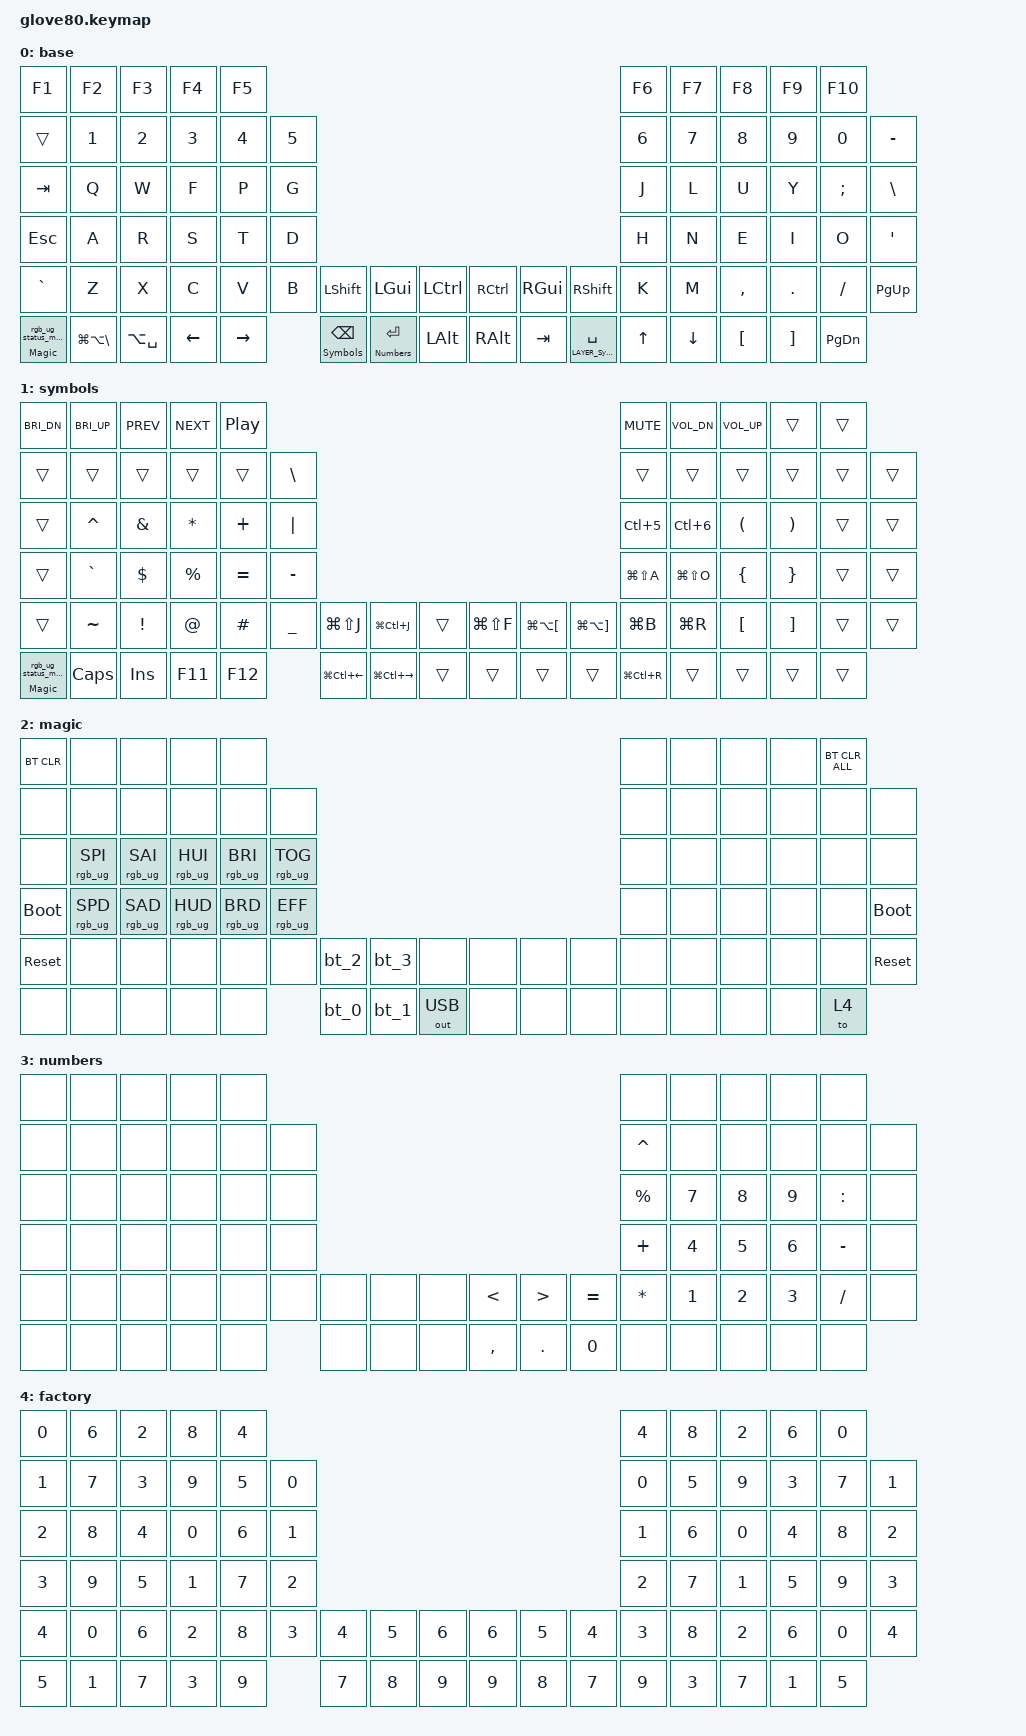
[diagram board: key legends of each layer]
/*
 * Copyright (c) 2020 The ZMK Contributors
 *
 * SPDX-License-Identifier: MIT
 */

#include <behaviors.dtsi>
#include <dt-bindings/zmk/keys.h>
#include <dt-bindings/zmk/bt.h>
#include <dt-bindings/zmk/ext_power.h>
#include <dt-bindings/zmk/outputs.h>
#include <dt-bindings/zmk/rgb.h>

#include "zmk-nodefree-config-main/helper.h"
#include "keypos_glove80.h"

#define HYPER LC(LS(LG(LALT)))

// MARK: Layer definitions
#define Base 0
#define Symbols 1
#define Magic 2
#define Numbers 3
#define Factory 4

/* To deal with the situation where there is no Lower layer, to keep &lower happy */
#ifndef LAYER_Lower
#define LAYER_Lower 0
#endif


// MARK: Combos

// Combo LShift + RShift triggers Caps Word
ZMK_COMBO(caps_word, &caps_word, 52 57, ALL, 50)

// MARK: Behaviors

/ {
    behaviors {

        thumb_layer: thumb_layer_access {
            compatible = "zmk,behavior-hold-tap";
            flavor = "balanced";
            tapping-term-ms = <200>;
            quick-tap-ms = <300>; // enable repeat
            #binding-cells = <2>;
            bindings = <&mo>, <&kp>;
        };

        // For the "layer" key, it'd nice to be able to use it as either a shift or a toggle.
        // Configure it as a tap dance, so the first tap (or hold) is a &mo and the second tap is a &to
        layer_td: tap_dance_0 {
            compatible = "zmk,behavior-tap-dance";
            label = "LAYER_TAP_DANCE";
            #binding-cells = <0>;
            tapping-term-ms = <200>;
            bindings = <&mo LOWER>, <&to LOWER>;
        };

        magic: magic_hold_tap {
            compatible = "zmk,behavior-hold-tap";
            label = "MAGIC_HOLD_TAP";
            #binding-cells = <2>;
            flavor = "tap-preferred";
            tapping-term-ms = <200>;
            bindings = <&mo>, <&rgb_ug_status_macro>;
        };
    };

    macros {
        rgb_ug_status_macro: rgb_ug_status_macro_0 {
            label = "RGB_UG_STATUS";
            compatible = "zmk,behavior-macro";
            #binding-cells = <0>;
            bindings
                = <&rgb_ug RGB_STATUS>;
        };

        bt_0: bt_profile_macro_0 {
            label = "BT_0";
            compatible = "zmk,behavior-macro";
            #binding-cells = <0>;
            bindings
                = <&out OUT_BLE>,
                  <&bt BT_SEL 0>;
        };

        bt_1: bt_profile_macro_1 {
            label = "BT_1";
            compatible = "zmk,behavior-macro";
            #binding-cells = <0>;
            bindings
                = <&out OUT_BLE>,
                  <&bt BT_SEL 1>;
        };

        bt_2: bt_profile_macro_2 {
            label = "BT_2";
            compatible = "zmk,behavior-macro";
            #binding-cells = <0>;
            bindings
                = <&out OUT_BLE>,
                  <&bt BT_SEL 2>;
        };

        bt_3: bt_profile_macro_3 {
            label = "BT_3";
            compatible = "zmk,behavior-macro";
            #binding-cells = <0>;
            bindings
                = <&out OUT_BLE>,
                  <&bt BT_SEL 3>;
        };
    };

    // MARK: Keymap

    keymap {
        compatible = "zmk,keymap";

        base {
            bindings = <
            &kp F1          &kp F2            &kp F3         &kp F4     &kp F5                                                                                                                                              &kp F6   &kp F7    &kp F8      &kp F9    &kp F10
            &trans          &kp N1            &kp N2         &kp N3     &kp N4      &kp N5                                                                                                                                  &kp N6   &kp N7    &kp N8      &kp N9    &kp N0     &kp MINUS
            &kp TAB         &kp Q             &kp W          &kp F      &kp P       &kp G                                                                                                                                   &kp J    &kp L     &kp U       &kp Y     &kp SEMI   &kp BSLH
            &kp ESC         &kp A             &kp R          &kp S      &kp T       &kp D                                                                                                                                   &kp H    &kp N     &kp E       &kp I     &kp O      &kp SQT
            &kp GRAVE       &kp Z             &kp X          &kp C      &kp V       &kp B   &kp LSHFT                       &kp LGUI                     &kp LCTRL  &kp RCTRL  &kp RGUI  &kp RSHFT                          &kp K    &kp M     &kp COMMA   &kp DOT   &kp FSLH   &kp PG_UP
            &magic Magic 0  &kp LG(LA(BSLH))  &kp LA(SPACE)  &kp LEFT   &kp RIGHT           &thumb_layer Symbols BACKSPACE  &thumb_layer Numbers ENTER   &kp LALT   &kp RALT   &kp TAB   &thumb_layer LAYER_Symbols SPACE   &kp UP   &kp DOWN  &kp LBKT    &kp RBKT  &kp PG_DN
            >;
        };

        symbols {
            bindings = <
            &kp C_BRI_DN    &kp C_BRI_UP  &kp C_PREV  &kp C_NEXT  &kp C_PP                                                                                                                                 &kp C_MUTE     &kp C_VOL_DN  &kp C_VOL_UP  &trans  &trans
            &trans          &trans        &trans      &trans      &trans     &kp BSLH                                                                                                      &trans          &trans         &trans        &trans        &trans  &trans
            &trans          &kp CARET     &kp AMPS    &kp STAR    &kp PLUS   &kp PIPE                                                                                                      &kp LC(N5)      &kp LC(N6)     &kp LPAR      &kp RPAR      &trans  &trans
            &trans          &kp GRAVE     &kp DLLR    &kp PRCNT   &kp EQUAL  &kp MINUS                                                                                                     &kp LG(LS(A))   &kp LG(LS(O))  &kp LBRC      &kp RBRC      &trans  &trans
            &trans          &kp TILDE     &kp EXCL    &kp AT      &kp HASH   &kp UNDER  &kp LG(LS(J))      &kp LG(LC(J))      &trans  &kp LG(LS(F))  &kp LG(LA(LBKT))  &kp LG(LA(RBKT))    &kp LG(B)       &kp LG(R)      &kp LBKT      &kp RBKT      &trans  &trans
            &magic Magic 0  &kp CAPS      &kp INS     &kp F11     &kp F12               &kp LG(LC(LEFT))   &kp LG(LC(RIGHT))  &trans  &trans         &trans            &trans              &kp LG(LC(R))   &trans         &trans        &trans        &trans
            >;
        };

        magic {
            bindings = <
            &bt BT_CLR    &none            &none            &none            &none                                                                                           &none   &none   &none   &none  &bt BT_CLR_ALL
            &none         &none            &none            &none            &none            &none                                                                  &none   &none   &none   &none   &none  &none
            &none         &rgb_ug RGB_SPI  &rgb_ug RGB_SAI  &rgb_ug RGB_HUI  &rgb_ug RGB_BRI  &rgb_ug RGB_TOG                                                        &none   &none   &none   &none   &none  &none
            &bootloader   &rgb_ug RGB_SPD  &rgb_ug RGB_SAD  &rgb_ug RGB_HUD  &rgb_ug RGB_BRD  &rgb_ug RGB_EFF                                                        &none   &none   &none   &none   &none  &bootloader
            &sys_reset    &none            &none            &none            &none            &none            &bt_2   &bt_3         &none   &none   &none   &none   &none   &none   &none   &none   &none  &sys_reset
            &none         &none            &none            &none            &none                             &bt_0   &bt_1  &out OUT_USB   &none   &none   &none   &none   &none   &none   &none   &to 4
            >;
        };

        numbers {
            bindings = <
            &none   &none   &none   &none   &none                                                                             &none   &none   &none   &none      &none
            &none   &none   &none   &none   &none   &none                                                          &kp CARET  &none   &none   &none   &none      &none
            &none   &none   &none   &none   &none   &none                                                          &kp PRCNT  &kp N7  &kp N8  &kp N9  &kp COLON  &none
            &none   &none   &none   &none   &none   &none                                                          &kp PLUS   &kp N4  &kp N5  &kp N6  &kp MINUS  &none
            &none   &none   &none   &none   &none   &none   &none   &none   &none  &kp LT     &kp GT   &kp EQUAL   &kp STAR   &kp N1  &kp N2  &kp N3  &kp FSLH   &none
            &none   &none   &none   &none   &none           &none   &none   &none  &kp COMMA  &kp DOT  &kp N0      &none      &none   &none   &none   &none
            >;
        };

        factory {
            bindings = <
            &kp NUMBER_0  &kp NUMBER_6  &kp NUMBER_2  &kp NUMBER_8  &kp NUMBER_4                                                                                                                  &kp NUMBER_4  &kp NUMBER_8  &kp NUMBER_2  &kp NUMBER_6  &kp NUMBER_0
            &kp NUMBER_1  &kp NUMBER_7  &kp NUMBER_3  &kp NUMBER_9  &kp NUMBER_5  &kp NUMBER_0                                                                                      &kp NUMBER_0  &kp NUMBER_5  &kp NUMBER_9  &kp NUMBER_3  &kp NUMBER_7  &kp NUMBER_1
            &kp NUMBER_2  &kp NUMBER_8  &kp NUMBER_4  &kp NUMBER_0  &kp NUMBER_6  &kp NUMBER_1                                                                                      &kp NUMBER_1  &kp NUMBER_6  &kp NUMBER_0  &kp NUMBER_4  &kp NUMBER_8  &kp NUMBER_2
            &kp NUMBER_3  &kp NUMBER_9  &kp NUMBER_5  &kp NUMBER_1  &kp NUMBER_7  &kp NUMBER_2                                                                                      &kp NUMBER_2  &kp NUMBER_7  &kp NUMBER_1  &kp NUMBER_5  &kp NUMBER_9  &kp NUMBER_3
            &kp NUMBER_4  &kp NUMBER_0  &kp NUMBER_6  &kp NUMBER_2  &kp NUMBER_8  &kp NUMBER_3  &kp NUMBER_4  &kp NUMBER_5  &kp NUMBER_6  &kp NUMBER_6  &kp NUMBER_5  &kp NUMBER_4  &kp NUMBER_3  &kp NUMBER_8  &kp NUMBER_2  &kp NUMBER_6  &kp NUMBER_0  &kp NUMBER_4
            &kp NUMBER_5  &kp NUMBER_1  &kp NUMBER_7  &kp NUMBER_3  &kp NUMBER_9                &kp NUMBER_7  &kp NUMBER_8  &kp NUMBER_9  &kp NUMBER_9  &kp NUMBER_8  &kp NUMBER_7                &kp NUMBER_9  &kp NUMBER_3  &kp NUMBER_7  &kp NUMBER_1  &kp NUMBER_5
            >;
        };

    };
};
